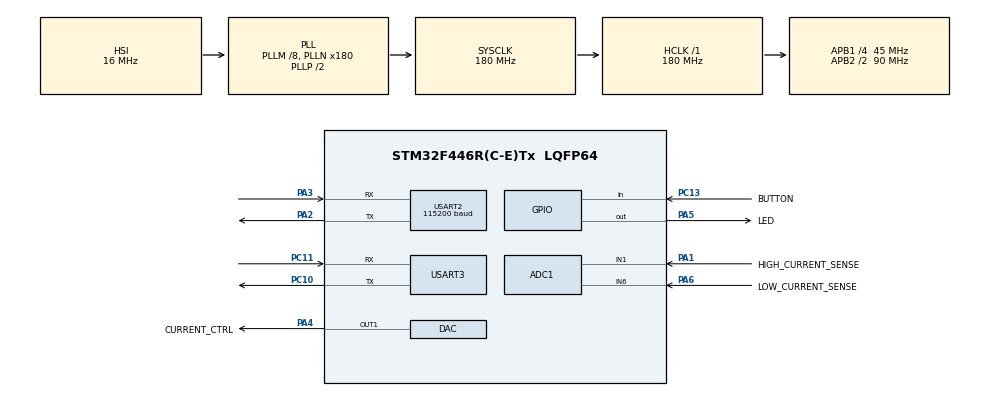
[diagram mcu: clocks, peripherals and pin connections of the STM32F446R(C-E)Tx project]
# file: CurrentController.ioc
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ADC1.Channel-0\#ChannelRegularConversion=ADC_CHANNEL_1
ADC1.Channel-1\#ChannelRegularConversion=ADC_CHANNEL_6
ADC1.ClockPrescaler=ADC_CLOCK_SYNC_PCLK_DIV4
ADC1.ContinuousConvMode=ENABLE
ADC1.ExternalTrigConv=ADC_SOFTWARE_START
ADC1.NbrOfConversion=2
ADC1.NbrOfConversionFlag=1
ADC1.Rank-0\#ChannelRegularConversion=1
ADC1.Rank-1\#ChannelRegularConversion=2
ADC1.SamplingTime-0\#ChannelRegularConversion=ADC_SAMPLETIME_144CYCLES
ADC1.SamplingTime-1\#ChannelRegularConversion=ADC_SAMPLETIME_144CYCLES
ADC1.ScanConvMode=ENABLE
ADC1.master=1
DAC.DAC_OutputBuffer=DAC_OUTPUTBUFFER_DISABLE
Mcu.Family=STM32F4
Mcu.Name=STM32F446R(C-E)Tx
Mcu.Package=LQFP64
NVIC.PriorityGroup=NVIC_PRIORITYGROUP_4
NVIC.TIM1_BRK_TIM9_IRQn=true\:0\:0\:false\:false\:true\:true\:true\:true
NVIC.USART2_IRQn=true\:0\:0\:false\:false\:true\:true\:true\:true
PA1.GPIO_Label=HIGH_CURRENT_SENSE
PA1.Signal=ADCx_IN1
PA2.Mode=Asynchronous
PA2.Signal=USART2_TX
PA3.Mode=Asynchronous
PA3.Signal=USART2_RX
PA4.GPIO_Label=CURRENT_CTRL
PA4.Signal=COMP_DAC1_group
PA5.GPIO_Label=LED
PA5.Signal=GPIO_Output
PA6.GPIO_Label=LOW_CURRENT_SENSE
PA6.Signal=ADCx_IN6
PC10.Mode=Asynchronous
PC10.Signal=USART3_TX
PC11.Mode=Asynchronous
PC11.Signal=USART3_RX
PC13.GPIO_Label=BUTTON
PC13.Signal=GPIO_Input
ProjectManager.HeapSize=0x200
ProjectManager.StackSize=0x400
ProjectManager.TargetToolchain=STM32CubeIDE
RCC.AHBFreq_Value=180000000
RCC.APB1CLKDivider=RCC_HCLK_DIV4
RCC.APB1Freq_Value=45000000
RCC.APB1TimFreq_Value=90000000
RCC.APB2CLKDivider=RCC_HCLK_DIV2
RCC.APB2Freq_Value=90000000
RCC.APB2TimFreq_Value=180000000
RCC.CortexFreq_Value=180000000
RCC.HCLKFreq_Value=180000000
RCC.PLLM=8
RCC.PLLN=180
RCC.SYSCLKFreq_VALUE=180000000
RCC.SYSCLKSource=RCC_SYSCLKSOURCE_PLLCLK
RCC.USBFreq_Value=180000000
RCC.VCOOutputFreq_Value=360000000
SH.ADCx_IN1.0=ADC1_IN1,IN1
SH.ADCx_IN6.0=ADC1_IN6,IN6
SH.COMP_DAC1_group.0=DAC_OUT1,DAC_OUT1
TIM9.Period=3665
TIM9.Prescaler=5-1
USART2.BaudRate=115200
USART2.VirtualMode=VM_ASYNC
USART3.VirtualMode=VM_ASYNC
VP_TIM9_VS_ClockSourceINT.Mode=Internal
board=custom

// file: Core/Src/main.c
/* USER CODE BEGIN Header */
/**
  ******************************************************************************
  * @file           : main.c
  * @brief          : Main program body
  ******************************************************************************
  * @attention
  *
  * Copyright (c) 2023 STMicroelectronics.
  * All rights reserved.
  *
  * This software is licensed under terms that can be found in the LICENSE file
  * in the root directory of this software component.
  * If no LICENSE file comes with this software, it is provided AS-IS.
  *
  ******************************************************************************
  */
/* USER CODE END Header */
#include "main.h"

ADC_HandleTypeDef hadc1;

DAC_HandleTypeDef hdac;

TIM_HandleTypeDef htim9;

UART_HandleTypeDef huart2;
UART_HandleTypeDef huart3;

/* USER CODE BEGIN PV */
uint8_t receivedByte = 0x00;

uint16_t decodeDataPacketDelay = 0;
uint16_t blinkLedDelay = 0;
uint16_t sendDataDelay1 = 0;
uint16_t samplingInterval = 0;
uint16_t controllerInterval = 0;
uint16_t sendKeepAliveDelay = 0;

App app;
uint8_t stateMachine = 0x00;

/* USER CODE END PV */

void SystemClock_Config(void);
static void MX_GPIO_Init(void);
static void MX_ADC1_Init(void);
static void MX_TIM9_Init(void);
static void MX_USART2_UART_Init(void);
static void MX_USART3_UART_Init(void);
static void MX_DAC_Init(void);

/* USER CODE BEGIN 0 */

/*
 * Timer interrupt handling (100us)
 */
void HAL_TIM_PeriodElapsedCallback(TIM_HandleTypeDef *htim)
{
	if (htim == &htim9)
	{
		decodeDataPacketDelay++;
		blinkLedDelay++;
		sendDataDelay1++;
		samplingInterval++;
		controllerInterval++;
		sendKeepAliveDelay++;
	}
}

/*
 * Interrupt for UART RX
 */
void HAL_UART_RxCpltCallback(UART_HandleTypeDef *huart)
{
	if (huart == &huart2)
	{
		HAL_UART_Receive_IT(&huart2, &receivedByte, 1);
		appAppendReceivedByte(&app, receivedByte);
		receivedByte = 0x00;
	}
}

/* USER CODE END 0 */

int main(void)
{

  /* MCU Configuration--------------------------------------------------------*/

  /* Reset of all peripherals, Initializes the Flash interface and the Systick. */
  HAL_Init();

  /* Configure the system clock */
  SystemClock_Config();

  /* Initialize all configured peripherals */
  MX_GPIO_Init();
  MX_ADC1_Init();
  MX_TIM9_Init();
  MX_USART2_UART_Init();
  MX_USART3_UART_Init();
  MX_DAC_Init();
  /* USER CODE BEGIN 2 */

  HAL_TIM_Base_Start_IT(&htim9);
  HAL_DAC_Start(&hdac, DAC_CHANNEL_1);
  appInit(&app, LED_GPIO_Port, LED_Pin, huart2, hdac, huart3, hadc1);
  HAL_UART_Receive_IT(&huart2, &receivedByte, 1);

  /* USER CODE END 2 */

  /* Infinite loop */
  while (1)
  {

    /* USER CODE BEGIN 3 */

	  /* ============================================================================= */

	  /********************************* TOP SLOT START ********************************/

	  /* Put here the code to be executed in all cycles before the state machine */

	  if (samplingInterval >= appGetSamplingInterval(&app))
	  {
		  appExecuteSampling(&app);
		  samplingInterval = 0;
	  }

	  if (controllerInterval >= appGetPidInterval(&app))
	  {
		  if (appGetRunPidControllerStatus(&app) == TRUE)
		  {
			  appRunController(&app);
		  }
		  controllerInterval = 0;
	  }

	  /********************************** TOP SLOT END *********************************/

	  /* ============================================================================= */

	  /****************************** STATE MACHINE START ******************************/

	  switch (stateMachine)
	  {
	  	  case 0:
	  		  if (decodeDataPacketDelay >= DELAY_10_MILISECONDS)
	  		  {
	  			appDecodeReceivedData(&app);
	  			decodeDataPacketDelay = 0;
	  		  }
	  		  stateMachine = 1;
	  		  break;

		  case 1:
			  appExtractCommandAndPayloadFromDecodedData(&app);
			  stateMachine = 2;
			  break;

		  case 2:
			  appDecodeExtractedCommand(&app);
			  stateMachine = 3;
			  break;

		  case 3:
			  if (blinkLedDelay >= appGetBlinkDelay(&app))
			  {
				  appExecuteBlinkLed(&app);
				  blinkLedDelay = 0;
			  }
			  stateMachine = 4;
			  break;

		  case 4:
			  if (sendDataDelay1 >= DELAY_100_MILISECONDS)
			  {
				  appSendData(&app);
				  sendDataDelay1 = 0;
			  }
			  stateMachine = 5;
			  break;

		  case 5:
			  if (sendKeepAliveDelay >= DELAY_2000_MILISECONDS)
			  {
				  appSetEnableSendKeepAliveMessage(&app, TRUE);
				  sendKeepAliveDelay = 0;
			  }
			  stateMachine = 0;
			  break;

		  default:
			  stateMachine = 0;
			  break;
	  }

	  /******************************* STATE MACHINE END *******************************/

	  /* ============================================================================= */

	  /******************************* BOTTOM SLOT START *******************************/

	  /* Put here the code to be executed in all cycles after the state machine */

	  /******************************** BOTTOM SLOT END ********************************/

	  /* ============================================================================= */
  }
  /* USER CODE END 3 */
}

void SystemClock_Config(void)
{
  RCC_OscInitTypeDef RCC_OscInitStruct = {0};
  RCC_ClkInitTypeDef RCC_ClkInitStruct = {0};

  /** Configure the main internal regulator output voltage
  */
  __HAL_RCC_PWR_CLK_ENABLE();
  __HAL_PWR_VOLTAGESCALING_CONFIG(PWR_REGULATOR_VOLTAGE_SCALE1);

  /** Initializes the RCC Oscillators according to the specified parameters
  * in the RCC_OscInitTypeDef structure.
  */
  RCC_OscInitStruct.OscillatorType = RCC_OSCILLATORTYPE_HSI;
  RCC_OscInitStruct.HSIState = RCC_HSI_ON;
  RCC_OscInitStruct.HSICalibrationValue = RCC_HSICALIBRATION_DEFAULT;
  RCC_OscInitStruct.PLL.PLLState = RCC_PLL_ON;
  RCC_OscInitStruct.PLL.PLLSource = RCC_PLLSOURCE_HSI;
  RCC_OscInitStruct.PLL.PLLM = 8;
  RCC_OscInitStruct.PLL.PLLN = 180;
  RCC_OscInitStruct.PLL.PLLP = RCC_PLLP_DIV2;
  RCC_OscInitStruct.PLL.PLLQ = 2;
  RCC_OscInitStruct.PLL.PLLR = 2;
  if (HAL_RCC_OscConfig(&RCC_OscInitStruct) != HAL_OK)
  {
    Error_Handler();
  }

  /** Activate the Over-Drive mode
  */
  if (HAL_PWREx_EnableOverDrive() != HAL_OK)
  {
    Error_Handler();
  }

  /** Initializes the CPU, AHB and APB buses clocks
  */
  RCC_ClkInitStruct.ClockType = RCC_CLOCKTYPE_HCLK|RCC_CLOCKTYPE_SYSCLK
                              |RCC_CLOCKTYPE_PCLK1|RCC_CLOCKTYPE_PCLK2;
  RCC_ClkInitStruct.SYSCLKSource = RCC_SYSCLKSOURCE_PLLCLK;
  RCC_ClkInitStruct.AHBCLKDivider = RCC_SYSCLK_DIV1;
  RCC_ClkInitStruct.APB1CLKDivider = RCC_HCLK_DIV4;
  RCC_ClkInitStruct.APB2CLKDivider = RCC_HCLK_DIV2;

  if (HAL_RCC_ClockConfig(&RCC_ClkInitStruct, FLASH_LATENCY_5) != HAL_OK)
  {
    Error_Handler();
  }
}

static void MX_ADC1_Init(void)
{

  ADC_ChannelConfTypeDef sConfig = {0};

  /** Configure the global features of the ADC (Clock, Resolution, Data Alignment and number of conversion)
  */
  hadc1.Instance = ADC1;
  hadc1.Init.ClockPrescaler = ADC_CLOCK_SYNC_PCLK_DIV4;
  hadc1.Init.Resolution = ADC_RESOLUTION_12B;
  hadc1.Init.ScanConvMode = ENABLE;
  hadc1.Init.ContinuousConvMode = ENABLE;
  hadc1.Init.DiscontinuousConvMode = DISABLE;
  hadc1.Init.ExternalTrigConvEdge = ADC_EXTERNALTRIGCONVEDGE_NONE;
  hadc1.Init.ExternalTrigConv = ADC_SOFTWARE_START;
  hadc1.Init.DataAlign = ADC_DATAALIGN_RIGHT;
  hadc1.Init.NbrOfConversion = 2;
  hadc1.Init.DMAContinuousRequests = DISABLE;
  hadc1.Init.EOCSelection = ADC_EOC_SINGLE_CONV;
  if (HAL_ADC_Init(&hadc1) != HAL_OK)
  {
    Error_Handler();
  }

  /** Configure for the selected ADC regular channel its corresponding rank in the sequencer and its sample time.
  */
  sConfig.Channel = ADC_CHANNEL_1;
  sConfig.Rank = 1;
  sConfig.SamplingTime = ADC_SAMPLETIME_144CYCLES;
  if (HAL_ADC_ConfigChannel(&hadc1, &sConfig) != HAL_OK)
  {
    Error_Handler();
  }

  /** Configure for the selected ADC regular channel its corresponding rank in the sequencer and its sample time.
  */
  sConfig.Channel = ADC_CHANNEL_6;
  sConfig.Rank = 2;
  if (HAL_ADC_ConfigChannel(&hadc1, &sConfig) != HAL_OK)
  {
    Error_Handler();
  }

}

static void MX_DAC_Init(void)
{

  DAC_ChannelConfTypeDef sConfig = {0};

  /** DAC Initialization
  */
  hdac.Instance = DAC;
  if (HAL_DAC_Init(&hdac) != HAL_OK)
  {
    Error_Handler();
  }

  /** DAC channel OUT1 config
  */
  sConfig.DAC_Trigger = DAC_TRIGGER_NONE;
  sConfig.DAC_OutputBuffer = DAC_OUTPUTBUFFER_DISABLE;
  if (HAL_DAC_ConfigChannel(&hdac, &sConfig, DAC_CHANNEL_1) != HAL_OK)
  {
    Error_Handler();
  }

}

static void MX_TIM9_Init(void)
{

  TIM_ClockConfigTypeDef sClockSourceConfig = {0};

  htim9.Instance = TIM9;
  htim9.Init.Prescaler = 5-1;
  htim9.Init.CounterMode = TIM_COUNTERMODE_UP;
  htim9.Init.Period = 3665;
  htim9.Init.ClockDivision = TIM_CLOCKDIVISION_DIV1;
  htim9.Init.AutoReloadPreload = TIM_AUTORELOAD_PRELOAD_DISABLE;
  if (HAL_TIM_Base_Init(&htim9) != HAL_OK)
  {
    Error_Handler();
  }
  sClockSourceConfig.ClockSource = TIM_CLOCKSOURCE_INTERNAL;
  if (HAL_TIM_ConfigClockSource(&htim9, &sClockSourceConfig) != HAL_OK)
  {
    Error_Handler();
  }

}

static void MX_USART2_UART_Init(void)
{

  huart2.Instance = USART2;
  huart2.Init.BaudRate = 115200;
  huart2.Init.WordLength = UART_WORDLENGTH_8B;
  huart2.Init.StopBits = UART_STOPBITS_1;
  huart2.Init.Parity = UART_PARITY_NONE;
  huart2.Init.Mode = UART_MODE_TX_RX;
  huart2.Init.HwFlowCtl = UART_HWCONTROL_NONE;
  huart2.Init.OverSampling = UART_OVERSAMPLING_16;
  if (HAL_UART_Init(&huart2) != HAL_OK)
  {
    Error_Handler();
  }

}

static void MX_USART3_UART_Init(void)
{

  huart3.Instance = USART3;
  huart3.Init.BaudRate = 115200;
  huart3.Init.WordLength = UART_WORDLENGTH_8B;
  huart3.Init.StopBits = UART_STOPBITS_1;
  huart3.Init.Parity = UART_PARITY_NONE;
  huart3.Init.Mode = UART_MODE_TX_RX;
  huart3.Init.HwFlowCtl = UART_HWCONTROL_NONE;
  huart3.Init.OverSampling = UART_OVERSAMPLING_16;
  if (HAL_UART_Init(&huart3) != HAL_OK)
  {
    Error_Handler();
  }

}

static void MX_GPIO_Init(void)
{
  GPIO_InitTypeDef GPIO_InitStruct = {0};

  /* GPIO Ports Clock Enable */
  __HAL_RCC_GPIOC_CLK_ENABLE();
  __HAL_RCC_GPIOA_CLK_ENABLE();

  /*Configure GPIO pin Output Level */
  HAL_GPIO_WritePin(LED_GPIO_Port, LED_Pin, GPIO_PIN_RESET);

  /*Configure GPIO pin : BUTTON_Pin */
  GPIO_InitStruct.Pin = BUTTON_Pin;
  GPIO_InitStruct.Mode = GPIO_MODE_INPUT;
  GPIO_InitStruct.Pull = GPIO_NOPULL;
  HAL_GPIO_Init(BUTTON_GPIO_Port, &GPIO_InitStruct);

  /*Configure GPIO pin : LED_Pin */
  GPIO_InitStruct.Pin = LED_Pin;
  GPIO_InitStruct.Mode = GPIO_MODE_OUTPUT_PP;
  GPIO_InitStruct.Pull = GPIO_NOPULL;
  GPIO_InitStruct.Speed = GPIO_SPEED_FREQ_LOW;
  HAL_GPIO_Init(LED_GPIO_Port, &GPIO_InitStruct);

}

void Error_Handler(void)
{
  __disable_irq();
  while (1)
  {
  }
}
